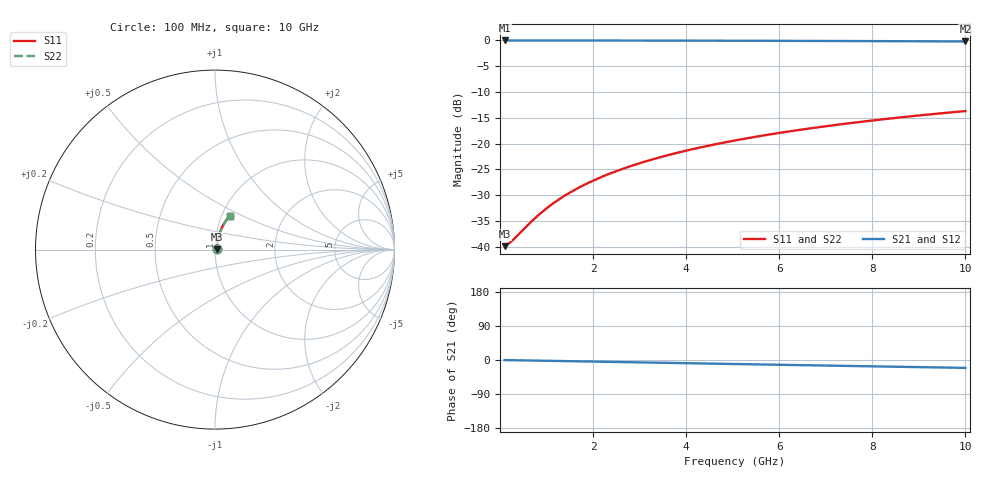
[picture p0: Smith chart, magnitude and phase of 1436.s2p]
# Hz S RI R 50.00
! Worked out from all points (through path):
!   100 points, 100 MHz to 10 GHz, reference 50 ohm
!   highest |S21| = -0.09 dB at 100 MHz (marker M1); lowest = -0.3 dB at 10 GHz (marker M2)
!   group delay of S21, straight-line fit = 5.79 ps
!   lowest |S11| = -39.8 dB at 100 MHz (marker M3), VSWR 1.02, Z = 51 + j0.214 ohm
!   |S11| at or under -10 dB: start of sweep to end of sweep
!   |S22| runs from -39.8 to -13.7 dB; largest |S21 - S12| = 0
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1e8  0.01 0.0021  0.99 -0.00364  0.99 -0.00364  0.01 0.0021
2e8  0.0101 0.00419  0.9899 -0.00728  0.9899 -0.00728  0.0101 0.00419
3e8  0.0102 0.00628  0.9898 -0.0109  0.9898 -0.0109  0.0102 0.00628
7e8  0.0106 0.0146  0.9893 -0.0255  0.9893 -0.0255  0.0106 0.0146
8e8  0.0108 0.0167  0.9892 -0.0291  0.9892 -0.0291  0.0108 0.0167
1e9  0.0111 0.0209  0.9888 -0.0364  0.9888 -0.0364  0.0111 0.0209
1.2e9  0.0114 0.0251  0.9884 -0.0436  0.9884 -0.0436  0.0114 0.0251
1.4e9  0.0119 0.0292  0.9879 -0.0509  0.9879 -0.0509  0.0119 0.0292
1.6e9  0.0124 0.0334  0.9873 -0.0581  0.9873 -0.0581  0.0124 0.0334
1.8e9  0.0129 0.0375  0.9867 -0.0654  0.9867 -0.0654  0.0129 0.0375
2.1e9  0.0139 0.0437  0.9856 -0.0762  0.9856 -0.0762  0.0139 0.0437
2.5e9  0.0153 0.052  0.9839 -0.0906  0.9839 -0.0906  0.0153 0.052
2.9e9  0.017 0.0601  0.9819 -0.105  0.9819 -0.105  0.017 0.0601
3.4e9  0.0194 0.0703  0.9791 -0.1229  0.9791 -0.1229  0.0194 0.0703
3.8e9  0.0217 0.0783  0.9765 -0.1371  0.9765 -0.1371  0.0217 0.0783
4.2e9  0.0241 0.0863  0.9737 -0.1512  0.9737 -0.1512  0.0241 0.0863
5.1e9  0.0304 0.1038  0.9664 -0.1827  0.9664 -0.1827  0.0304 0.1038
5.9e9  0.037 0.119  0.9587 -0.2104  0.9587 -0.2104  0.037 0.119
6.7e9  0.0444 0.1337  0.9501 -0.2375  0.9501 -0.2375  0.0444 0.1337
7.5e9  0.0526 0.148  0.9405 -0.2642  0.9405 -0.2642  0.0526 0.148
8.4e9  0.0628 0.1633  0.9285 -0.2936  0.9285 -0.2936  0.0628 0.1633
1e10  0.0831 0.1886  0.9046 -0.3439  0.9046 -0.3439  0.0831 0.1886
